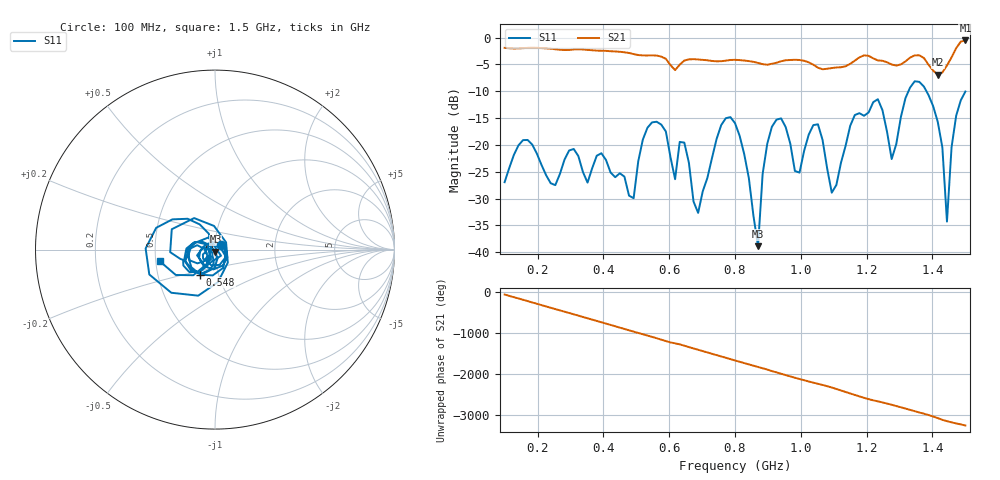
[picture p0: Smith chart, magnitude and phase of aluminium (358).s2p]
! NanoVNA-App
! Date: 2025-09-25 14:58:04
! Start: 100MHz Stop: 1,5GHz Points: 101
! S-Parameter data: F S11 S21 S12 S22
# Hz S RI R 50
!  Frequency  S11_Real  S11_Imag  S21_Real  S21_Imag  S12_Real  S12_Imag  S22_Real  S22_Imag
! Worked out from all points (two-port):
!   101 points, 100 MHz to 1.5 GHz, reference 50 ohm
!   highest |S21| = -0.54 dB at 1.5 GHz (marker M1); lowest = -6.9 dB at 1.416 GHz (marker M2)
!   |S21| within 3 dB of the highest: start of sweep to 575.1 MHz; 1.459 GHz to end of sweep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
!   lowest |S11| = -38.9 dB at 870 MHz (marker M3), VSWR 1.02, Z = 50.3 - j1.11 ohm
!   |S11| at or under -10 dB: start of sweep to 1.327 GHz; 1.382 GHz to end of sweep
!   S12 and S22 are empty: the file has one direction only
!   S11 on the Smith chart (normalised r, x): 100 MHz: 1.07, +0.06; 548 MHz: 0.82, -0.24; 1.5 GHz: 0.53, -0.08
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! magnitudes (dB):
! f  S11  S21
! 100 MHz  -27.0  -1.9
! 156 MHz  -19.1  -2.0
! 338 MHz  -25.1  -2.2
! 492 MHz  -29.9  -3.1
! 548 MHz  -15.8  -3.3
! 576 MHz  -16.2  -3.6
! 618 MHz  -26.4  -6.1
! 646 MHz  -19.6  -4.3
! 688 MHz  -32.7  -4.1
! 800 MHz  -15.9  -4.1
! 870 MHz  -38.9  -4.7
! 912 MHz  -16.6  -4.9
! 996 MHz  -25.2  -4.2
! 1.038 GHz  -16.3  -5.1
! 1.094 GHz  -28.9  -5.7
! 1.234 GHz  -11.5  -4.3
! 1.276 GHz  -22.6  -5.0
! 1.346 GHz  -8.1  -3.3
! 1.416 GHz  -15.7  -6.9
! 1.444 GHz  -34.3  -5.2
! 1.458 GHz  -20.4  -3.7
! 1.5 GHz  -10.1  -0.5
